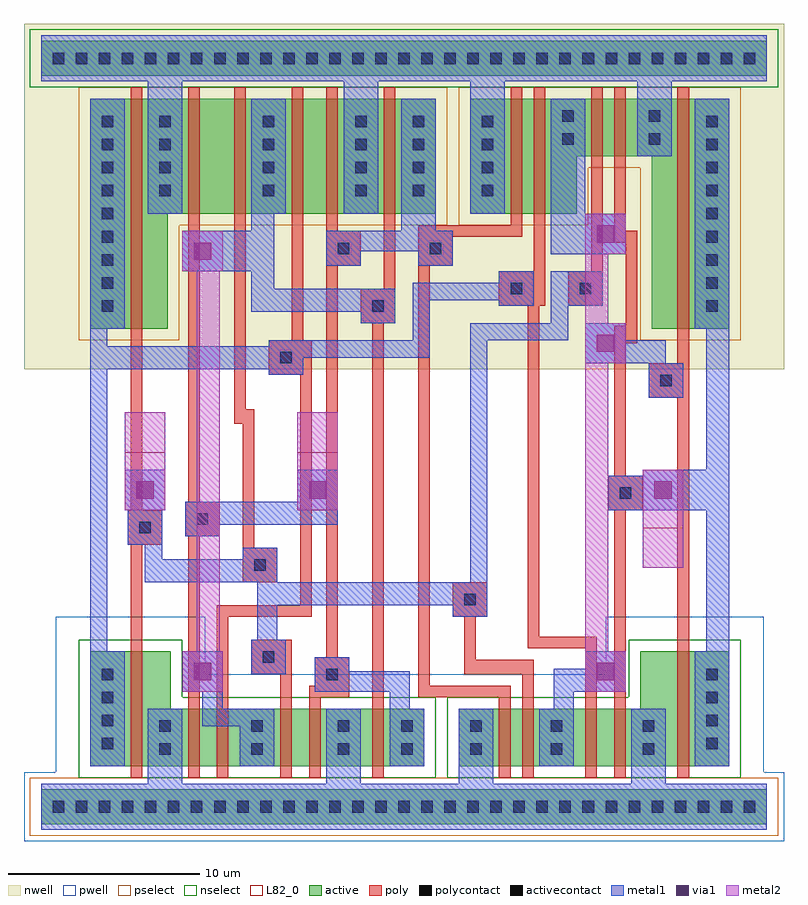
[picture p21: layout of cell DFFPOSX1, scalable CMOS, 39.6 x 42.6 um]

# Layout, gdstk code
import gdstk
lib = gdstk.Library(unit=1e-6, precision=1e-09)
def R(c, l, rs):  # rectangles x0, y0, x1, y1
    for r in rs: c.add(gdstk.rectangle(r[:2], r[2:], *l))
def A(c, l, x, y, w, h, nx, ny, dx, dy):  # array of equal rectangles
    R(c, l, [(x+i*dx, y+j*dy, x+i*dx+w, y+j*dy+h) for i in range(nx) for j in range(ny)])
pwell = (41, 0)
nwell = (42, 0)
active = (43, 0)
pselect = (44, 0)
nselect = (45, 0)
poly = (46, 0)
polycontact = (47, 0)
activecontact = (48, 0)
metal1 = (49, 0)
via1 = (50, 0)
metal2 = (51, 0)
L82_0 = (82, 0)

dffposx1 = lib.new_cell('DFFPOSX1')
R(dffposx1, pwell, [(-1.8,-1.8,37.8,1.8), (-0.15,1.8,36.75,6.9), (-0.15,6.9,7.65,9.9), (28.5,6.9,36.75,9.9)])
R(dffposx1, nwell, [(-1.8,22.8,37.8,40.8)])
R(dffposx1, active, [(-0.9,-0.9,36.9,0.9), (1.65,2.1,19.05,5.1), (20.85,2.1,34.95,5.1), (1.65,5.1,5.85,8.1), (30.3,5.1,34.95,8.1), (1.65,24.9,5.7,30.9), (30.9,24.9,34.95,33.9), (1.65,30.9,19.65,36.9), (21.45,30.9,27,33.9), (21.45,33.9,34.95,36.9), (-0.9,38.1,36.9,39.9)])
R(dffposx1, pselect, [(-1.5,-1.5,37.5,1.5), (1.05,24.3,6.3,30.3), (30.3,24.3,35.55,33.3), (1.05,30.3,20.25,37.5), (20.85,30.3,27.6,33.3), (20.85,33.3,35.55,37.5)])
R(dffposx1, nselect, [(1.05,1.5,19.65,5.7), (20.25,1.5,35.55,5.7), (1.05,5.7,6.45,8.7), (29.7,5.7,35.55,8.7), (-1.5,37.5,37.5,40.5)])
R(dffposx1, poly, [(3.75,1.5,4.35,13.65), (6.75,1.5,7.35,14.1), (8.25,1.5,8.85,9.9), (11.55,1.5,12.15,6.9), (13.05,1.5,13.65,5.7), (16.35,1.5,16.95,25.2), (22.95,1.5,23.55,5.7), (24.15,1.5,24.75,6.9), (27.45,1.5,28.05,8.25), (28.95,1.5,29.55,15.45), (32.25,1.5,32.85,21.3), (13.05,5.7,15.15,6.3), (18.75,5.7,23.55,6.3), (13.35,6.3,15.15,7.8), (18.75,6.3,19.35,28.2), (10.05,6.9,12.15,8.7), (21.15,6.9,24.75,7.65), (21.15,7.65,21.75,9.9), (13.95,7.8,14.55,28.2), (24.45,8.25,28.05,8.85), (24.45,8.85,25.05,26.1), (8.25,9.9,13.2,10.5), (20.55,9.9,22.35,11.7), (12.6,10.5,13.2,22.5), (9.6,11.7,11.4,13.5), (9.6,13.5,10.2,19.95), (3.6,13.65,5.4,15.45), (6.6,14.1,8.4,15.9), (3.75,15.45,4.35,37.5), (28.65,15.45,30.45,17.25), (6.75,15.9,7.35,37.5), (28.95,17.25,29.55,24.15), (9.15,19.95,10.2,20.7), (9.15,20.7,9.75,37.5), (30.75,21.3,32.85,23.1), (10.95,22.5,13.2,24.3), (32.25,23.1,32.85,37.5), (28.95,24.15,30.15,25.05), (12.15,24.3,12.75,37.5), (29.55,25.05,30.15,29.4), (15.75,25.2,17.55,27), (22.95,26.1,25.35,27.9), (26.55,26.1,28.35,27.9), (16.95,27,17.55,37.5), (24.75,27.9,25.35,37.5), (27.75,27.9,28.35,37.5), (13.95,28.2,15.75,30), (18.75,28.2,20.55,29.7), (28.95,29.4,30.15,30), (18.75,29.7,24.15,30.3), (13.95,30,14.55,37.5), (28.95,30,29.55,37.5), (23.55,30.3,24.15,37.5)])
R(dffposx1, polycontact, [(13.95,6.6,14.55,7.2), (10.65,7.5,11.25,8.1), (21.15,10.5,21.75,11.1), (10.2,12.3,10.8,12.9), (4.2,14.25,4.8,14.85), (7.2,14.7,7.8,15.3), (29.25,16.05,29.85,16.65), (31.35,21.9,31.95,22.5), (11.55,23.1,12.15,23.7), (16.35,25.8,16.95,26.4), (23.55,26.7,24.15,27.3), (27.15,26.7,27.75,27.3), (14.55,28.8,15.15,29.4), (19.35,28.8,19.95,29.4)])
A(dffposx1, activecontact, -0.3, -0.3, 0.6, 0.6, 31, 2, 1.2, 39)
A(dffposx1, activecontact, 2.25, 3, 0.6, 0.6, 1, 4, 0, 1.2)
A(dffposx1, activecontact, 33.75, 3, 0.6, 0.6, 1, 4, 0, 1.2)
A(dffposx1, activecontact, 2.25, 25.8, 0.6, 0.6, 1, 9, 0, 1.2)
A(dffposx1, activecontact, 33.75, 25.8, 0.6, 0.6, 1, 9, 0, 1.2)
A(dffposx1, activecontact, 5.25, 31.8, 0.6, 0.6, 1, 4, 0, 1.2)
A(dffposx1, activecontact, 10.65, 31.8, 0.6, 0.6, 1, 4, 0, 1.2)
A(dffposx1, activecontact, 15.45, 31.8, 0.6, 0.6, 1, 4, 0, 1.2)
A(dffposx1, activecontact, 18.45, 31.8, 0.6, 0.6, 1, 4, 0, 1.2)
A(dffposx1, activecontact, 22.05, 31.8, 0.6, 0.6, 1, 4, 0, 1.2)
R(dffposx1, activecontact, [(5.25,2.7,5.85,3.3), (10.05,2.7,10.65,3.3), (14.55,2.7,15.15,3.3), (17.85,2.7,18.45,3.3), (21.45,2.7,22.05,3.3), (25.65,2.7,26.25,3.3), (30.45,2.7,31.05,3.3), (5.25,3.9,5.85,4.5), (10.05,3.9,10.65,4.5), (14.55,3.9,15.15,4.5), (17.85,3.9,18.45,4.5), (21.45,3.9,22.05,4.5), (25.65,3.9,26.25,4.5), (30.45,3.9,31.05,4.5), (26.25,34.5,26.85,35.1), (30.75,34.5,31.35,35.1), (26.25,35.7,26.85,36.3), (30.75,35.7,31.35,36.3)])
R(dffposx1, metal1, [(-0.9,-1.2,36.9,1.2), (4.65,1.2,6.45,5.1), (13.95,1.2,15.75,5.1), (20.85,1.2,22.65,5.1), (29.85,1.2,31.65,5.1), (1.65,2.1,3.45,8.1), (9.45,2.1,11.25,4.2), (17.25,2.1,19.05,5.1), (25.05,2.1,26.85,5.1), (33.15,2.1,34.95,8.1), (7.5,4.2,11.25,5.1), (7.5,5.1,8.55,6), (17.25,5.1,18.3,6), (25.8,5.1,26.85,6), (6.45,6,8.55,8.1), (13.35,6,18.3,7.05), (25.8,6,29.55,7.2), (10.05,6.9,11.85,8.7), (13.35,7.05,15.15,7.8), (27.45,7.2,29.55,8.1), (1.65,8.1,2.55,22.8), (33.75,8.1,34.95,15.45), (10.35,8.7,11.4,10.5), (20.55,9.9,22.35,10.5), (10.35,10.5,22.35,11.7), (4.5,11.7,11.4,12.9), (21.45,11.7,22.35,24.3), (4.5,12.9,5.4,13.65), (9.6,12.9,11.4,13.5), (3.6,13.65,5.4,15.45), (6.6,14.1,8.4,14.7), (6.6,14.7,14.55,15.9), (3.45,15.45,5.55,17.55), (28.65,15.45,34.95,17.25), (12.45,15.9,14.55,17.55), (30.45,17.25,34.95,17.55), (33.75,17.55,34.95,24.9), (30.75,21.3,32.55,23.1), (10.95,22.5,12.75,22.8), (1.65,22.8,12.75,23.4), (27.45,23.1,31.65,24.3), (1.65,23.4,19.35,24), (1.65,24,2.55,24.9), (10.95,24,19.35,24.3), (18.45,24.3,19.35,26.4), (21.45,24.3,26.55,25.2), (27.45,24.3,29.55,25.2), (1.65,24.9,3.45,36.9), (33.15,24.9,34.95,36.9), (15.75,25.2,17.55,25.8), (25.65,25.2,26.55,26.1), (10.05,25.8,17.55,27), (22.95,26.1,24.75,26.4), (25.65,26.1,28.35,27.9), (18.45,26.4,24.75,27.3), (10.05,27,11.25,27.9), (22.95,27.3,24.75,27.9), (6.45,27.9,11.25,30), (13.95,28.2,15.75,28.95), (18.75,28.2,20.55,28.95), (25.65,28.8,29.55,30.9), (13.95,28.95,20.55,30), (10.05,30,11.25,30.9), (17.85,30,19.65,36.9), (4.65,30.9,6.45,37.8), (10.05,30.9,11.85,36.9), (14.85,30.9,16.65,37.8), (21.45,30.9,23.25,37.8), (25.65,30.9,27.45,36.9), (30.15,33.9,31.95,37.8), (-0.9,37.8,36.9,40.2)])
R(dffposx1, via1, [(7.05,6.6,7.95,7.5), (28.05,6.6,28.95,7.5), (4.05,16.05,4.95,16.95), (13.05,16.05,13.95,16.95), (31.05,16.05,31.95,16.95), (28.05,23.7,28.95,24.6), (7.05,28.5,7.95,29.4), (28.05,29.4,28.95,30.3)])
R(dffposx1, metal2, [(6.45,6,8.55,8.1), (27.45,6,29.55,8.1), (7.2,8.1,8.4,27.9), (27.45,8.1,28.65,23.1), (30.45,12.45,32.55,17.55), (3.45,15.45,5.55,20.55), (12.45,15.45,14.55,20.55), (27.45,23.1,29.55,25.2), (27.45,25.2,28.65,28.8), (6.45,27.9,8.55,30), (27.45,28.8,29.55,30.9)])
R(dffposx1, L82_0, [(30.45,12.45,32.55,14.55), (3.45,18.45,5.55,20.55), (12.45,18.45,14.55,20.55)])

lib.write_gds('DFFPOSX1.gds')
